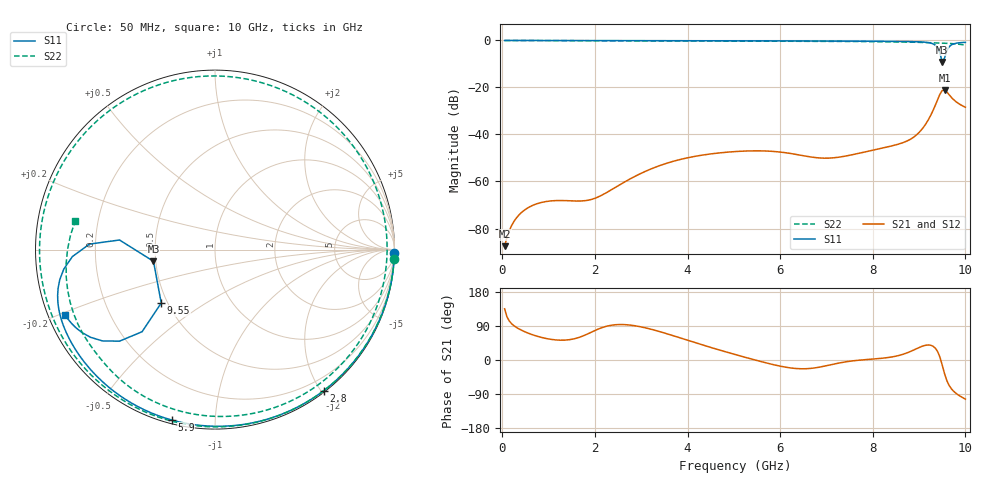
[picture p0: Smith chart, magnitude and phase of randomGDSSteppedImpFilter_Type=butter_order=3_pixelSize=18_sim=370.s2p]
! freq	dB(S11)	phase(S11)	dB(S12)	phase(S12)
!  dB(S21)	phase(S21)	dB(S22)	phase(S22)
!S-par simulation data
#  GHz  S  DB  R 50
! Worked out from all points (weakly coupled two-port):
!   200 points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, 50 MHz to 10 GHz, reference 50 ohm
!   highest |S21| = -21.09 dB at 9.55 GHz (marker M1); lowest = -87.5 dB at 50 MHz (marker M2)
!   lowest |S11| = -9.1 dB at 9.5 GHz (marker M3), VSWR 2.07, Z = 24.3 - j3.61 ohm
!   |S11| at or under -10 dB: nowhere
!   |S22| runs from -2.0 to 0.0 dB; largest |S21 - S12| = 0
!   S11 on the Smith chart (normalised r, x): 50 MHz: open; 2.8 GHz: 0.02, -2.03; 5.9 GHz: 0.02, -0.78; 9.55 GHz: 0.46, -0.33; 10 GHz: 0.05, -0.21
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0.05  -0.01 -1.0  -87.51 135.1  -87.51 135.1  -0.00 -3.1
0.15  -0.01 -2.9  -80.99 103.1  -80.99 103.1  -0.01 -9.2
0.5  -0.01 -9.6  -71.87 73.8  -71.87 73.8  -0.04 -30.1
0.95  -0.02 -18.2  -68.51 56.7  -68.51 56.7  -0.07 -56.5
1.75  -0.04 -33.2  -68.23 63.8  -68.23 63.8  -0.12 -101.0
2.25  -0.05 -42.4  -64.74 89.1  -64.74 89.1  -0.15 -127.2
2.8  -0.07 -52.3  -58.48 91.5  -58.48 91.5  -0.18 -155.0
3.4  -0.08 -62.9  -53.23 74.9  -53.23 74.9  -0.20 175.1
4.35  -0.11 -79.1  -48.68 38.8  -48.68 38.8  -0.24 126.9
5.05  -0.14 -90.7  -47.24 13.7  -47.24 13.7  -0.29 90.0
5.9  -0.18 -104.3  -47.28 -13.6  -47.28 -13.6  -0.33 44.2
6.7  -0.23 -116.9  -49.67 -21.6  -49.67 -21.6  -0.36 1.9
7.45  -0.28 -128.7  -49.05 -4.2  -49.05 -4.2  -0.42 -35.7
8.35  -0.38 -143.8  -45.15 6.8  -45.15 6.8  -0.58 -79.1
8.9  -0.53 -155.4  -40.89 27.3  -40.89 27.3  -0.76 -107.0
9.25  -1.10 -169.1  -31.89 39.0  -31.89 39.0  -0.97 -127.2
9.4  -3.10 177.5  -25.18 22.4  -25.18 22.4  -1.10 -136.8
9.5  -9.15 -169.2  -21.29 -13.4  -21.29 -13.4  -1.16 -143.6
9.55  -7.49 -135.2  -21.09 -36.2  -21.09 -36.2  -1.18 -147.4
9.65  -2.65 -136.2  -23.14 -67.4  -23.14 -67.4  -1.26 -155.6
9.8  -1.18 -148.0  -26.09 -88.2  -26.09 -88.2  -1.48 -169.5
10  -0.81 -156.4  -28.41 -103.3  -28.41 -103.3  -1.99 168.3
